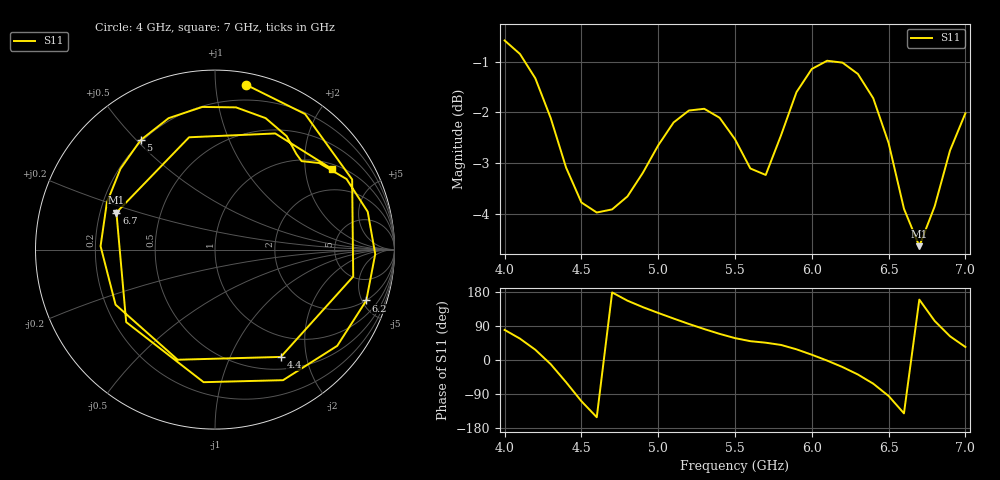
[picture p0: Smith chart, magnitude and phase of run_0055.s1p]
! Touchstone file exported from HFSS 2024.2.0
!  File:  C:/Users/wsak9/Desktop/Sim Fast/Widenad Patch/WP_AI_V1_sweep.aedt
!  Generated:  05:12:57 PM Oct 13, 2026
!  Design:  A1_model
!  Project:  WP_AI_V1_sweep
!  Setup:  Setup1
!  Solution:  Sweep
! Variables:
!  Air_gap = 3.81mm
!  Curve_Amp1 = 2.97
!  Curve_len1 = 1
!  Curve_pos = 11.135mm
!  Extra = 3.3mm
!  H_sub = 0.79mm
!  L_Patch = 18.27mm
!  L_Patch1 = 14.15mm
!  Sx = 2.12mm
!  Sy = 0.41mm
!  WS = 0.47mm
!  W_Patch = 18.91mm
!  W_Patch1 = 10.85mm
!Data is not renormalized
# GHz S MA
! Terminal data exported
! Port[1] = 1
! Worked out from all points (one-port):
!   31 points, 4 GHz to 7 GHz, reference per port
!   lowest |S11| = -4.6 dB at 6.7 GHz (marker M1), VSWR 3.84
!   |S11| at or under -10 dB: nowhere
!   S11 on the Smith chart (normalised r, x): 4 GHz: 0.08, +1.20; 4.4 GHz: 0.67, -1.58; 5 GHz: 0.19, +0.51; 6.2 GHz: 1.99, -5.40; 6.7 GHz: 0.27, +0.17; 7 GHz: 1.16, +2.80
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4  0.9351 79.4
4.1  0.9068 56.4
4.2  0.8583 27.1
4.3  0.7845 -11.0
4.4  0.7013 -58.5
4.5  0.6479 -108.7
4.6  0.6333 -151.0
4.7  0.6378 178.3
4.8  0.6569 156.5
5  0.7373 124.2
5.1  0.7766 109.4
5.2  0.7979 95.1
5.3  0.801 81.6
5.5  0.7477 57.7
5.7  0.6896 45.6
5.8  0.7545 39.7
5.9  0.8316 28.2
6  0.8766 13.9
6.1  0.8931 -1.6
6.2  0.8893 -18.6
6.3  0.8668 -38.2
6.4  0.8204 -62.5
6.5  0.7414 -94.9
6.6  0.6388 -140.8
6.7  0.5868 159.4
6.8  0.6423 103.0
6.9  0.7289 62.6
7  0.7929 34.4
